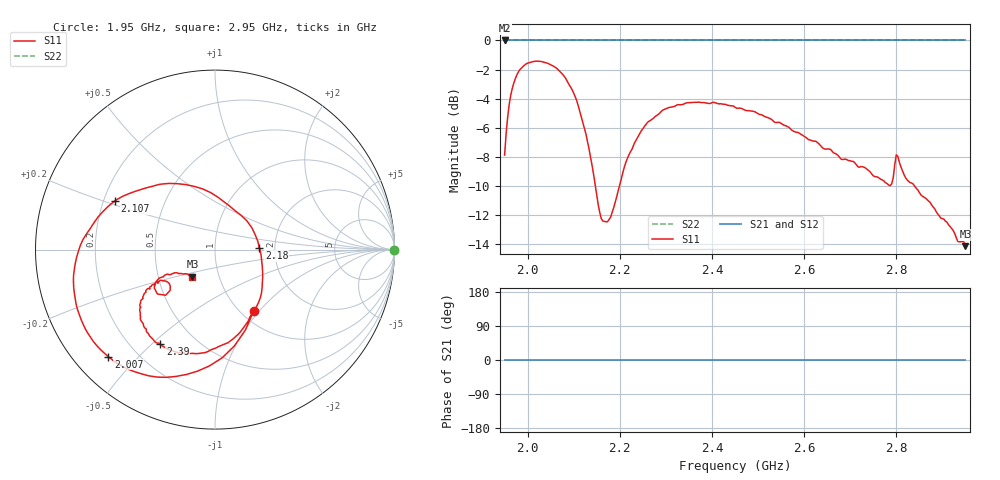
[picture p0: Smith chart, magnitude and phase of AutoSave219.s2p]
!Agilent N9923A: A.07.32
!Date: Thursday, 02 June 2016 03:35:07
!Model: N9923A
!Serial: MY52412257
!GPS Latitude:
!GPS Longitude:
!GPS TimeStamp: 0001-01-01 00:00:00Z
!GPS Seconds Since Last Read: 0
!CHECKSUM:0845544506
!Correction: S11(ON U)S21()S12()S22()
!S2P File: Measurements:S11,S21,S12,S22:
# Hz S DB R 50
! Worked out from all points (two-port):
!   301 points, 1.95 GHz to 2.95 GHz, reference 50 ohm
!   highest |S21| = 0.00 dB at 1.95 GHz (marker M1); lowest = 0.0 dB at 1.95 GHz (marker M2)
!   |S21| within 3 dB of the highest: start of sweep to end of sweep
!   lowest |S11| = -14.1 dB at 2.95 GHz (marker M3), VSWR 1.49, Z = 37.3 - j11.7 ohm
!   |S11| at or under -10 dB: 2.147 GHz to 2.199 GHz (52.17 MHz wide, 2.4 % of centre); 2.84 GHz to end of sweep
!   |S22| runs from 0.0 to 0.0 dB; largest |S21 - S12| = 0
!   S11 on the Smith chart (normalised r, x): 1.95 GHz: 1.14, -0.93; 2.007 GHz: 0.10, -0.41; 2.107 GHz: 0.25, +0.22; 2.18 GHz: 1.66, +0.03; 2.39 GHz: 0.32, -0.53; 2.95 GHz: 0.75, -0.23
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1.95e9  -7.87 -57.8  0.00 0.0  0.00 0.0  0.00 0.0
1.96e9  -4.38 -86.1  0.00 0.0  0.00 0.0  0.00 0.0
1.97e9  -2.92 -103.0  0.00 0.0  0.00 0.0  0.00 0.0
1.986667e9  -1.89 -120.7  0.00 0.0  0.00 0.0  0.00 0.0
2.006667e9  -1.50 -134.9  0.00 0.0  0.00 0.0  0.00 0.0
2.036667e9  -1.50 -152.7  0.00 0.0  0.00 0.0  0.00 0.0
2.063333e9  -1.92 -169.5  0.00 0.0  0.00 0.0  0.00 0.0
2.083333e9  -2.64 175.6  0.00 0.0  0.00 0.0  0.00 0.0
2.106667e9  -4.15 154.0  0.00 0.0  0.00 0.0  0.00 0.0
2.12e9  -5.67 139.1  0.00 0.0  0.00 0.0  0.00 0.0
2.143333e9  -9.24 101.5  0.00 0.0  0.00 0.0  0.00 0.0
2.16e9  -12.24 63.0  0.00 0.0  0.00 0.0  0.00 0.0
2.18e9  -12.14 2.1  0.00 0.0  0.00 0.0  0.00 0.0
2.223333e9  -7.63 -60.5  0.00 0.0  0.00 0.0  0.00 0.0
2.286667e9  -4.98 -93.0  0.00 0.0  0.00 0.0  0.00 0.0
2.39e9  -4.31 -120.0  0.00 0.0  0.00 0.0  0.00 0.0
2.453333e9  -4.65 -130.7  0.00 0.0  0.00 0.0  0.00 0.0
2.62e9  -6.92 -148.4  0.00 0.0  0.00 0.0  0.00 0.0
2.783333e9  -9.92 -145.3  0.00 0.0  0.00 0.0  0.00 0.0
2.8e9  -7.85 -142.3  0.00 0.0  0.00 0.0  0.00 0.0
2.82e9  -9.41 -152.8  0.00 0.0  0.00 0.0  0.00 0.0
2.95e9  -14.12 -129.6  0.00 0.0  0.00 0.0  0.00 0.0
